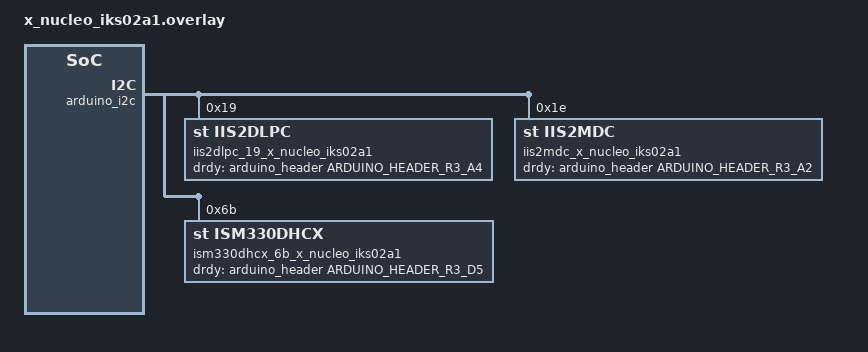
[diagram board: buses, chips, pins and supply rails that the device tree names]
/*
 * Copyright (c) 2020 STMicroelectronics
 *
 * SPDX-License-Identifier: Apache-2.0
 */

/*
 * Mode 1: Standard Mode
 *
 *   JP7 => 1-2, 3-4 (I2C1 = I2C2, I2Cx=GND)
 *   JP8 => 1-2, 3-4 (I2C1 = I2C2, I2Cx=GND)
 *
 * ISM330DHCX, IIS2MDC and IIS2DLPC sensors are accessible from the main board mcu.
 */

#include <zephyr/dt-bindings/gpio/arduino-header-r3.h>

/ {
	aliases {
		accel0 = &iis2dlpc_19_x_nucleo_iks02a1;
		accel1 = &ism330dhcx_6b_x_nucleo_iks02a1;
	};
};

&arduino_i2c {
	iis2dlpc_19_x_nucleo_iks02a1: iis2dlpc@19 {
		compatible = "st,iis2dlpc";
		reg = <0x19>;
		drdy-gpios = <&arduino_header ARDUINO_HEADER_R3_A4 GPIO_ACTIVE_HIGH>;
		drdy-int = <2>;
	};

	iis2mdc_x_nucleo_iks02a1: iis2mdc@1e {
		compatible = "st,iis2mdc";
		reg = <0x1e>;
		drdy-gpios = <&arduino_header ARDUINO_HEADER_R3_A2 GPIO_ACTIVE_HIGH>;
	};

	ism330dhcx_6b_x_nucleo_iks02a1: ism330dhcx@6b {
		compatible = "st,ism330dhcx";
		reg = <0x6b>;
		drdy-gpios = <&arduino_header ARDUINO_HEADER_R3_D5 GPIO_ACTIVE_HIGH>;
		int-pin = <2>;
	};
};
